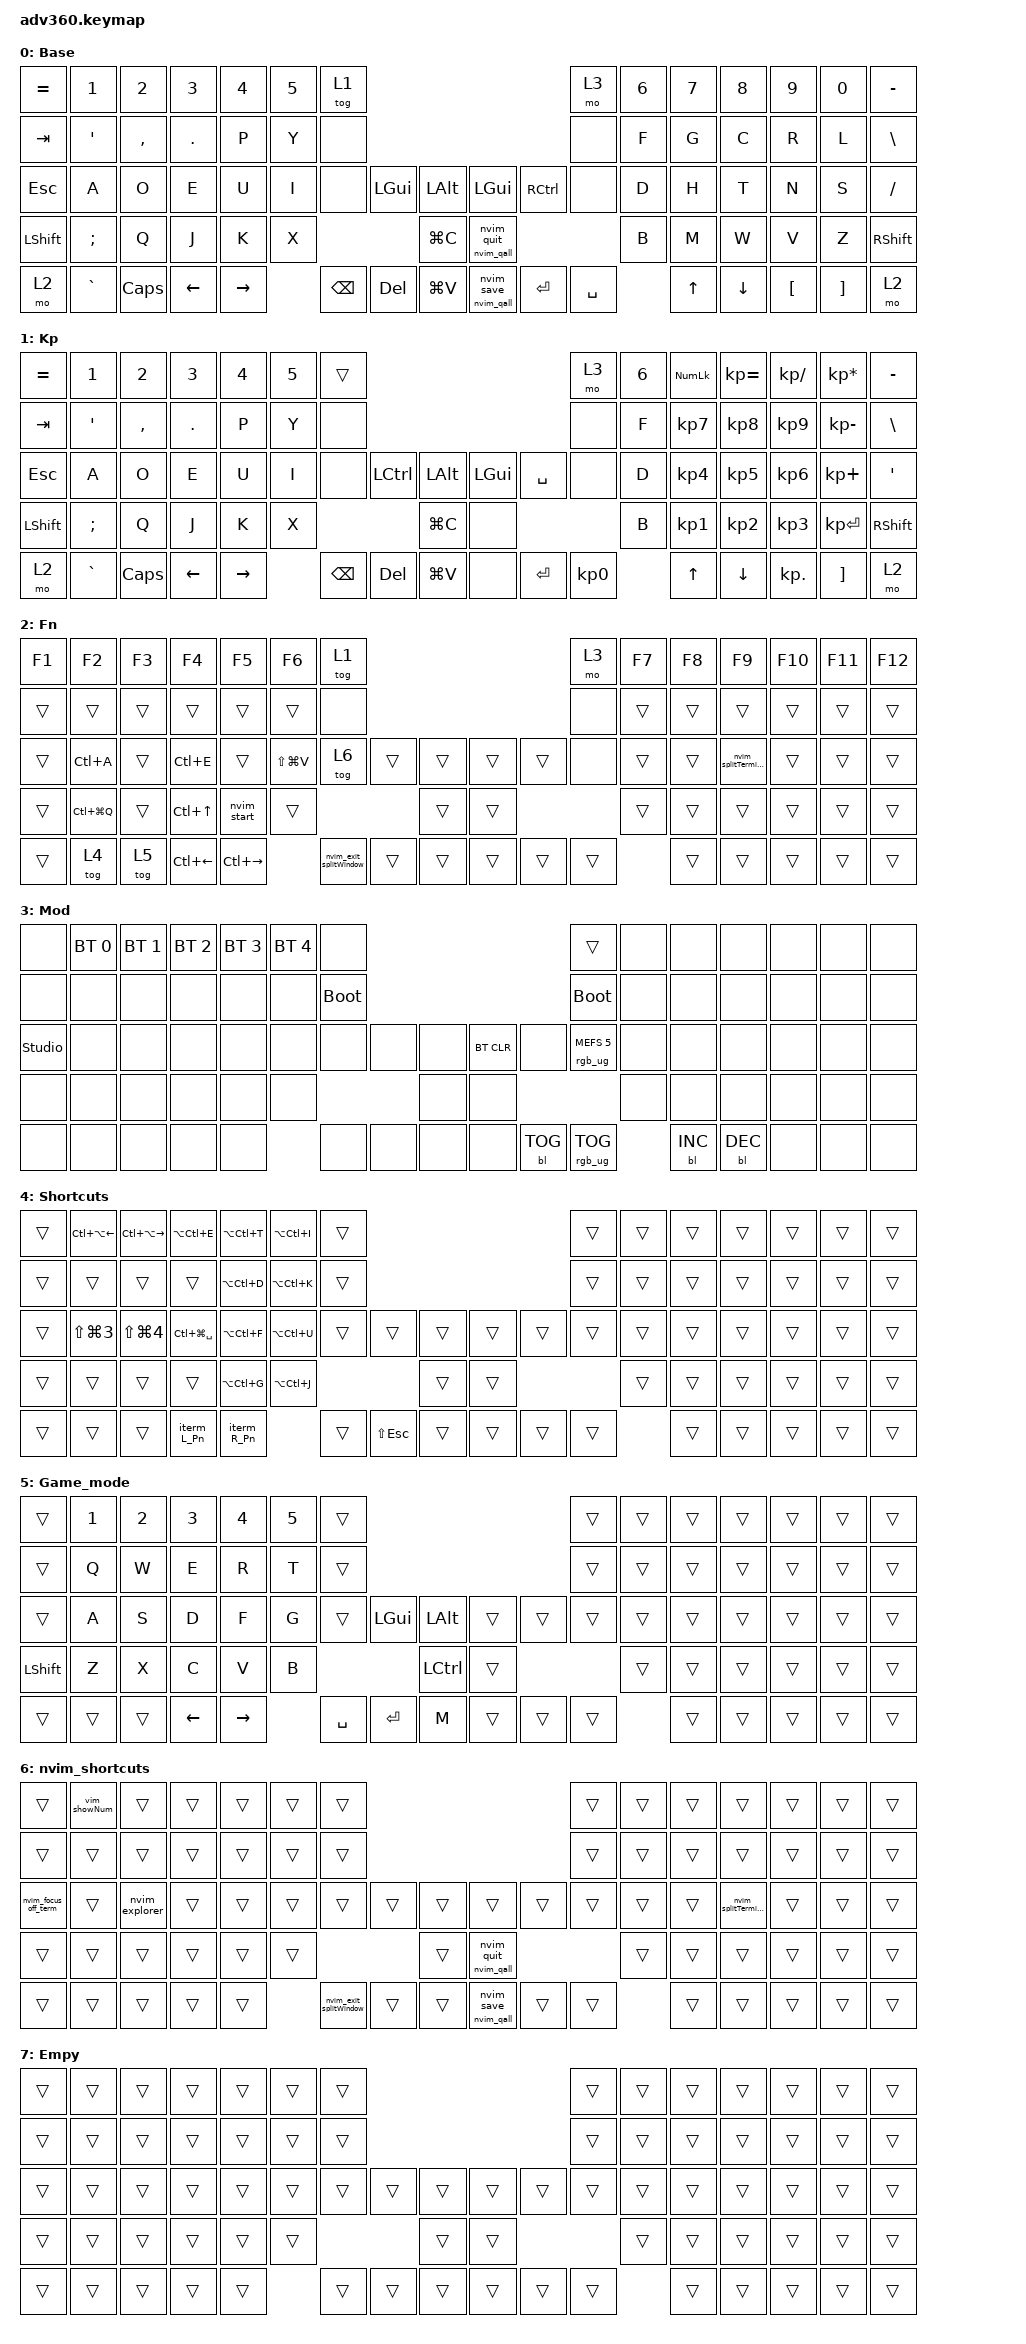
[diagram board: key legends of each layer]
#include <dt-bindings/zmk/stp.h>
#include <behaviors.dtsi>
#include <dt-bindings/zmk/backlight.h>
#include <dt-bindings/zmk/bt.h>
#include <dt-bindings/zmk/keys.h>
#include <dt-bindings/zmk/rgb.h>

/ {
    behaviors {
        #include "macros.dtsi"
      #include "version.dtsi"

        hm: homerow_mods {
            compatible = "zmk,behavior-hold-tap";
            label = "HOMEROW_MODS";
            #binding-cells = <2>;
            tapping-term-ms = <200>;
            quick_tap_ms = <175>;
            flavor = "tap-preferred";
            bindings = <&kp>, <&kp>;
        };

        nvim_quitQall: nvim_quitQall {
            compatible = "zmk,behavior-hold-tap";
            label = "NVIM_QUITQALL";
            bindings = <&nvim_qall>, <&nvim_quit>;

            #binding-cells = <2>;
            tapping-term-ms = <200>;
        };

        nvim_saveQall: nvim_saveQall {
            compatible = "zmk,behavior-hold-tap";
            label = "NVIM_SAVEQALL";
            bindings = <&nvim_qall>, <&nvim_save>;

            #binding-cells = <2>;
            tapping-term-ms = <200>;
        };
    };

    macros {
        nvim_quit: vimquit {
            compatible = "zmk,behavior-macro";
            #binding-cells = <0>;
            bindings = <&kp ESCAPE &kp COLON &kp Q &kp U &kp I &kp T &kp RET>;
            label = "VIMQUIT";
        };

        nvim_save: vimsave {
            compatible = "zmk,behavior-macro";
            #binding-cells = <0>;
            bindings = <&kp ESCAPE &kp COLON &kp W &kp R &kp I &kp T &kp E &kp RET>;
            label = "VIMSAVE";
        };

        vim_showNum: vim_showNum {
            compatible = "zmk,behavior-macro";
            #binding-cells = <0>;
            bindings = <&kp ESCAPE &kp COLON &kp S &kp E &kp T &kp N &kp U &kp M &kp RET>;
            label = "VIM_SHOWNUM";
        };

        nvim_splitTerminal: nvim_splitTerminal {
            compatible = "zmk,behavior-macro";
            #binding-cells = <0>;
            bindings = <&kp COLON &kp S &kp P &kp L &kp I &kp T &kp SPACE &kp PIPE &kp SPACE &kp T &kp E &kp R &kp M &kp I &kp N &kp A &kp L &kp RET>;
            label = "NVIM_SPLITTERMINAL";
        };

        nvim_focus_off_term: normal_from_terminal {
            compatible = "zmk,behavior-macro";
            #binding-cells = <0>;
            bindings = <&kp LC(BACKSLASH) &kp LC(N)>;
            label = "NORMAL_FROM_TERMINAL";
        };

        nvim_exit_splitWindow: nvim_close_splits {
            compatible = "zmk,behavior-macro";
            #binding-cells = <0>;
            bindings =
                <&kp LC(BACKSLASH) &kp LC(N) &kp COLON &kp Q &kp ENTER>,
                <&macro_wait_time 100>,
                <&kp SPACE &kp B &kp R>;

            label = "NVIM_CLOSE_SPLITS";
        };

        nvim_explorer: nvim_explorer {
            compatible = "zmk,behavior-macro";
            #binding-cells = <0>;
            bindings = <&kp SPACE &kp E>;
            label = "NVIM_EXPLORER";
        };

        nvim_start: nvim_start {
            compatible = "zmk,behavior-macro";
            #binding-cells = <0>;
            bindings = <&kp N &kp V &kp I &kp M &kp RET>;
            label = "NVIM_START";
        };

        iterm_R_Pn: iterm_lft_Pn {
            compatible = "zmk,behavior-macro";
            #binding-cells = <0>;
            bindings = <&kp LG(RIGHT_BRACKET)>;
            label = "ITERM_LFT_PN";
        };

        iterm_L_Pn: iterm_L_Pn {
            compatible = "zmk,behavior-macro";
            #binding-cells = <0>;
            bindings = <&kp LG(LEFT_BRACKET)>;
            label = "ITERM_L_PN";
        };

        nvim_qall: nvim_qall {
            compatible = "zmk,behavior-macro";
            #binding-cells = <0>;
            bindings = <&kp COLON &kp Q &kp A &kp L &kp L &kp ENTER>;
            label = "NVIM_QALL";
        };
    };

    keymap {
        compatible = "zmk,keymap";

        default_layer {
            display-name = "Base";
            bindings = <
&kp EQUAL  &kp N1         &kp N2     &kp N3      &kp N4     &kp N5  &tog 1                                                            &mo 3      &kp N6  &kp N7  &kp N8    &kp N9    &kp N0    &kp MINUS
&kp TAB    &kp SQT        &kp COMMA  &kp PERIOD  &kp P      &kp Y   &none                                                             &none      &kp F   &kp G   &kp C     &kp R     &kp L     &kp BSLH
&kp ESC    &kp A          &kp O      &kp E       &kp U      &kp I   &none     &kp LGUI  &kp LALT       &kp LGUI            &kp RCTRL  &none      &kp D   &kp H   &kp T     &kp N     &kp S     &kp SLASH
&kp LSHFT  &kp SEMICOLON  &kp Q      &kp J       &kp K      &kp X                       &kp LG(C)      &nvim_quitQall 0 0                        &kp B   &kp M   &kp W     &kp V     &kp Z     &kp RSHFT
&mo 2      &kp GRAVE      &kp CAPS   &kp LEFT    &kp RIGHT          &kp BSPC  &kp DEL   &kp LG(V)      &nvim_saveQall 0 0  &kp ENTER  &kp SPACE          &kp UP  &kp DOWN  &kp LBKT  &kp RBKT  &mo 2
            >;
        };

        numpad_layer {
            display-name = "Kp";
            bindings = <
&kp EQUAL  &kp N1         &kp N2     &kp N3      &kp N4     &kp N5  &trans                                                   &mo 3      &kp N6  &kp KP_NUM  &kp KP_EQUAL  &kp KP_DIVIDE  &kp KP_MULTIPLY  &kp MINUS
&kp TAB    &kp SQT        &kp COMMA  &kp PERIOD  &kp P      &kp Y   &none                                                    &none      &kp F   &kp KP_N7   &kp KP_N8     &kp KP_N9      &kp KP_MINUS     &kp BSLH
&kp ESC    &kp A          &kp O      &kp E       &kp U      &kp I   &none     &kp LCTRL  &kp LALT       &kp LGUI  &kp SPACE  &none      &kp D   &kp KP_N4   &kp KP_N5     &kp KP_N6      &kp KP_PLUS      &kp SQT
&kp LSHFT  &kp SEMICOLON  &kp Q      &kp J       &kp K      &kp X                        &kp LG(C)      &none                           &kp B   &kp KP_N1   &kp KP_N2     &kp KP_N3      &kp KP_ENTER     &kp RSHFT
&mo 2      &kp GRAVE      &kp CAPS   &kp LEFT    &kp RIGHT          &kp BSPC  &kp DEL    &kp LG(V)      &none     &kp ENTER  &kp KP_N0          &kp UP      &kp DOWN      &kp KP_DOT     &kp RBKT         &mo 2
            >;
        };

        fn {
            display-name = "Fn";
            bindings = <
&kp F1  &kp F2         &kp F3  &kp F4              &kp F5         &kp F6         &tog 1                                                      &mo 3   &kp F7  &kp F8  &kp F9               &kp F10  &kp F11  &kp F12
&trans  &trans         &trans  &trans              &trans         &trans         &none                                                       &none   &trans  &trans  &trans               &trans   &trans   &trans
&trans  &kp LC(A)      &trans  &kp LC(E)           &trans         &kp LS(LG(V))  &tog 6                  &trans  &trans      &trans  &trans  &none   &trans  &trans  &nvim_splitTerminal  &trans   &trans   &trans
&trans  &kp LC(LG(Q))  &trans  &kp LC(UP_ARROW)    &nvim_start    &trans                                         &trans      &trans                  &trans  &trans  &trans               &trans   &trans   &trans
&trans  &tog 4         &tog 5  &kp LC(LEFT_ARROW)  &kp LC(RIGHT)                 &nvim_exit_splitWindow  &trans  &trans      &trans  &trans  &trans          &trans  &trans               &trans   &trans   &trans
            >;
        };

        mod {
            display-name = "Mod";
            bindings = <
&none           &bt BT_SEL 0  &bt BT_SEL 1  &bt BT_SEL 2  &bt BT_SEL 3  &bt BT_SEL 4  &none                                                  &trans                  &none  &none       &none       &none  &none  &none
&none           &none         &none         &none         &none         &none         &bootloader                                            &bootloader             &none  &none       &none       &none  &none  &none
&studio_unlock  &none         &none         &none         &none         &none         &none        &none  &none      &bt BT_CLR  &none       &rgb_ug RGB_MEFS_CMD 5  &none  &none       &none       &none  &none  &none
&none           &none         &none         &none         &none         &none                             &none      &none                                           &none  &none       &none       &none  &none  &none
&none           &none         &none         &none         &none                       &none        &none  &none      &none       &bl BL_TOG  &rgb_ug RGB_TOG                &bl BL_INC  &bl BL_DEC  &none  &none  &none
            >;
        };

        Shortcuts {
            bindings = <
&trans  &kp LC(LA(LEFT))      &kp LC(LA(RIGHT))     &kp LA(LC(E))      &kp LA(LC(T))  &kp LA(LC(I))  &trans                                              &trans  &trans  &trans  &trans  &trans  &trans  &trans
&trans  &trans                &trans                &trans             &kp LA(LC(D))  &kp LA(LC(K))  &trans                                              &trans  &trans  &trans  &trans  &trans  &trans  &trans
&trans  &kp LS(LG(NUMBER_3))  &kp LS(LG(NUMBER_4))  &kp LC(LG(SPACE))  &kp LA(LC(F))  &kp LA(LC(U))  &trans  &trans          &trans      &trans  &trans  &trans  &trans  &trans  &trans  &trans  &trans  &trans
&trans  &trans                &trans                &trans             &kp LA(LC(G))  &kp LA(LC(J))                          &trans      &trans                  &trans  &trans  &trans  &trans  &trans  &trans
&trans  &trans                &trans                &iterm_L_Pn        &iterm_R_Pn                   &trans  &kp LS(ESCAPE)  &trans      &trans  &trans  &trans          &trans  &trans  &trans  &trans  &trans
            >;
        };

        Game_mode {
            bindings = <
&trans     &kp N1  &kp N2  &kp N3    &kp N4     &kp N5  &trans                                               &trans  &trans  &trans  &trans  &trans  &trans  &trans
&trans     &kp Q   &kp W   &kp E     &kp R      &kp T   &trans                                               &trans  &trans  &trans  &trans  &trans  &trans  &trans
&trans     &kp A   &kp S   &kp D     &kp F      &kp G   &trans     &kp LGUI   &kp LALT       &trans  &trans  &trans  &trans  &trans  &trans  &trans  &trans  &trans
&kp LSHFT  &kp Z   &kp X   &kp C     &kp V      &kp B                         &kp LCTRL      &trans                  &trans  &trans  &trans  &trans  &trans  &trans
&trans     &trans  &trans  &kp LEFT  &kp RIGHT          &kp SPACE  &kp ENTER  &kp M          &trans  &trans  &trans          &trans  &trans  &trans  &trans  &trans
            >;
        };

        nvim_shortcuts {
            bindings = <
&trans                &vim_showNum  &trans          &trans  &trans  &trans  &trans                                                                  &trans  &trans  &trans  &trans               &trans  &trans  &trans
&trans                &trans        &trans          &trans  &trans  &trans  &trans                                                                  &trans  &trans  &trans  &trans               &trans  &trans  &trans
&nvim_focus_off_term  &trans        &nvim_explorer  &trans  &trans  &trans  &trans                  &trans  &trans      &trans              &trans  &trans  &trans  &trans  &nvim_splitTerminal  &trans  &trans  &trans
&trans                &trans        &trans          &trans  &trans  &trans                                  &trans      &nvim_quitQall 0 0                  &trans  &trans  &trans               &trans  &trans  &trans
&trans                &trans        &trans          &trans  &trans          &nvim_exit_splitWindow  &trans  &trans      &nvim_saveQall 0 0  &trans  &trans          &trans  &trans               &trans  &trans  &trans
            >;
        };

        Empy {
            bindings = <
&trans  &trans  &trans  &trans  &trans  &trans  &trans                                      &trans  &trans  &trans  &trans  &trans  &trans  &trans
&trans  &trans  &trans  &trans  &trans  &trans  &trans                                      &trans  &trans  &trans  &trans  &trans  &trans  &trans
&trans  &trans  &trans  &trans  &trans  &trans  &trans  &trans  &trans      &trans  &trans  &trans  &trans  &trans  &trans  &trans  &trans  &trans
&trans  &trans  &trans  &trans  &trans  &trans                  &trans      &trans                  &trans  &trans  &trans  &trans  &trans  &trans
&trans  &trans  &trans  &trans  &trans          &trans  &trans  &trans      &trans  &trans  &trans          &trans  &trans  &trans  &trans  &trans
            >;
        };

        extra1 {
            display-name = "Red";
            status = "reserved";
        };

        extra2 {
            display-name = "Purple";
            status = "reserved";
        };

        extra3 {
            display-name = "Cyan";
            status = "reserved";
        };

        extra4 {
            display-name = "Yellow";
            status = "reserved";
        };
    };

    conditional_layers { compatible = "zmk,conditional-layers"; };
};
